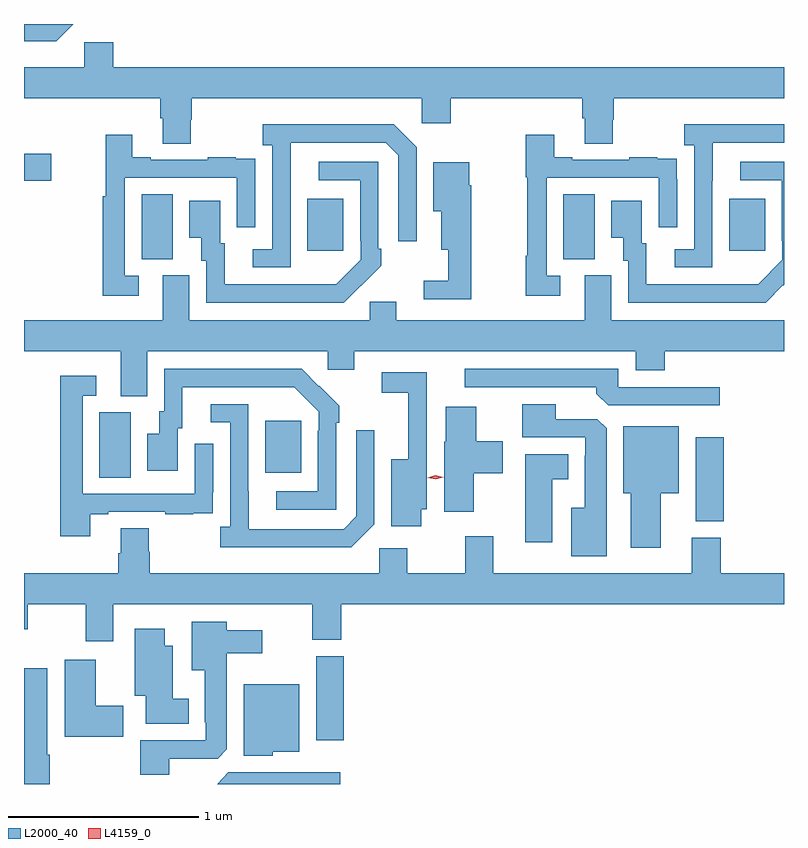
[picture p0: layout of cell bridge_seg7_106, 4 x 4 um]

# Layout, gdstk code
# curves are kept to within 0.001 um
import gdstk
lib = gdstk.Library(unit=1e-6, precision=1e-09)
def R(c, l, rs):  # rectangles x0, y0, x1, y1
    for r in rs: c.add(gdstk.rectangle(r[:2], r[2:], *l))
def P(c, l, *ps):  # polygons
    for p in ps: c.add(gdstk.Polygon(p, *l))
L2000_40 = (2000, 40)
L4159_0 = (4159, 0)

bridge_seg7_106 = lib.new_cell('bridge_seg7_106')
R(bridge_seg7_106, L2000_40, [(1081.988,1009.224,1082.135,1009.668), (1083.986,1010.377,1084.133,1010.821), (1080.848,1010.608,1081.012,1010.952), (1081.721,1010.633,1081.909,1010.908), (1081.07,1011.757,1081.234,1012.1), (1083.29,1011.757,1083.454,1012.1), (1081.943,1011.801,1082.131,1012.075), (1084.163,1011.801,1084.351,1012.075), (1080.451,1012.169,1080.595,1012.311)])
P(bridge_seg7_106, L2000_40, [(1080.711,1012.995),(1080.451,1012.995),(1080.451,1012.904),(1080.62,1012.904)],
  [(1081.329,1012.491),(1081.334,1012.491),(1081.334,1012.604),(1082.544,1012.604),(1082.544,1012.473),(1082.696,1012.473),(1082.696,1012.604),(1083.389,1012.604),(1083.389,1012.498),(1083.401,1012.498),(1083.401,1012.366),(1083.549,1012.366),(1083.549,1012.491),(1083.554,1012.491),(1083.554,1012.604),(1084.451,1012.604),(1084.451,1012.768),(1080.92,1012.768),(1080.92,1012.9),(1080.768,1012.9),(1080.768,1012.768),(1080.451,1012.768),(1080.451,1012.604),(1081.169,1012.604),(1081.169,1012.498),(1081.181,1012.498),(1081.181,1012.366),(1081.329,1012.366)],
  [(1084.074,1012.171),(1084.075,1012.171),(1084.075,1012.371),(1084.451,1012.371),(1084.451,1012.468),(1083.927,1012.468),(1083.927,1012.358),(1083.978,1012.358),(1083.978,1011.81),(1083.876,1011.81),(1083.876,1011.714),(1084.074,1011.714)],
  [(1081.854,1012.171),(1081.855,1012.371),(1082.355,1012.371),(1082.421,1012.305),(1082.421,1011.852),(1082.517,1011.852),(1082.517,1012.347),(1082.396,1012.468),(1081.707,1012.468),(1081.707,1012.358),(1081.758,1012.358),(1081.758,1011.81),(1081.656,1011.81),(1081.656,1011.714),(1081.854,1011.714)],
  [(1083.274,1011.669),(1083.201,1011.669),(1083.201,1012.185),(1083.792,1012.185),(1083.792,1011.924),(1083.888,1011.924),(1083.888,1012.178),(1083.887,1012.178),(1083.887,1012.287),(1083.785,1012.287),(1083.785,1012.294),(1083.637,1012.294),(1083.637,1012.281),(1083.337,1012.281),(1083.337,1012.294),(1083.241,1012.294),(1083.241,1012.411),(1083.092,1012.411),(1083.092,1012.188),(1083.1,1012.188),(1083.1,1011.776),(1083.093,1011.776),(1083.093,1011.564),(1083.274,1011.564)],
  [(1081.054,1011.669),(1080.981,1011.669),(1080.981,1012.185),(1081.572,1012.185),(1081.572,1011.924),(1081.668,1011.924),(1081.668,1012.178),(1081.667,1012.178),(1081.667,1012.287),(1081.565,1012.287),(1081.565,1012.294),(1081.417,1012.294),(1081.417,1012.281),(1081.117,1012.281),(1081.117,1012.294),(1081.021,1012.294),(1081.021,1012.411),(1080.88,1012.411),(1080.88,1012.088),(1080.865,1012.088),(1080.865,1011.564),(1081.054,1011.564)],
  [(1082.225,1011.619),(1082.226,1011.618),(1082.331,1011.723),(1082.331,1011.811),(1082.316,1011.811),(1082.316,1012.269),(1082.001,1012.269),(1082.001,1012.173),(1082.22,1012.173),(1082.22,1011.853),(1082.223,1011.853),(1082.223,1011.753),(1082.095,1011.625),(1081.507,1011.624),(1081.507,1011.84),(1081.483,1011.84),(1081.483,1012.066),(1081.322,1012.066),(1081.322,1011.869),(1081.385,1011.869),(1081.385,1011.75),(1081.41,1011.75),(1081.41,1011.528),(1082.134,1011.528)],
  [(1084.445,1011.619),(1084.446,1011.618),(1084.451,1011.623),(1084.451,1012.269),(1084.221,1012.269),(1084.221,1012.173),(1084.44,1012.173),(1084.44,1011.853),(1084.443,1011.853),(1084.443,1011.753),(1084.315,1011.625),(1083.727,1011.624),(1083.727,1011.84),(1083.703,1011.84),(1083.703,1012.066),(1083.542,1012.066),(1083.542,1011.869),(1083.605,1011.869),(1083.605,1011.75),(1083.63,1011.75),(1083.63,1011.528),(1084.354,1011.528)],
  [(1082.806,1012.146),(1082.794,1012.146),(1082.794,1012.267),(1082.606,1012.267),(1082.606,1012.01),(1082.648,1012.01),(1082.648,1011.806),(1082.685,1011.806),(1082.685,1011.643),(1082.556,1011.643),(1082.556,1011.546),(1082.806,1011.546)],
  [(1081.099,1011.272),(1082.049,1011.272),(1082.049,1011.174),(1082.188,1011.174),(1082.188,1011.272),(1083.671,1011.272),(1083.671,1011.173),(1083.824,1011.173),(1083.824,1011.272),(1084.451,1011.272),(1084.451,1011.436),(1083.541,1011.436),(1083.541,1011.672),(1083.401,1011.672),(1083.401,1011.436),(1082.41,1011.436),(1082.41,1011.534),(1082.271,1011.534),(1082.271,1011.436),(1081.321,1011.436),(1081.321,1011.672),(1081.181,1011.672),(1081.181,1011.436),(1080.451,1011.436),(1080.451,1011.272),(1080.959,1011.272),(1080.959,1011.037),(1081.099,1011.037)],
  [(1084.114,1011.084),(1083.579,1011.084),(1083.579,1011.18),(1082.772,1011.18),(1082.772,1011.084),(1083.464,1011.084),(1083.464,1011.05),(1083.525,1010.988),(1084.114,1010.988)],
  [(1082.094,1010.897),(1082.109,1010.897),(1082.109,1010.985),(1081.912,1011.18),(1081.188,1011.18),(1081.188,1010.958),(1081.163,1010.958),(1081.163,1010.839),(1081.1,1010.839),(1081.1,1010.643),(1081.261,1010.643),(1081.261,1010.868),(1081.285,1010.868),(1081.285,1011.084),(1081.873,1011.084),(1082.001,1010.955),(1082.001,1010.855),(1081.998,1010.855),(1081.998,1010.535),(1081.779,1010.535),(1081.779,1010.439),(1082.094,1010.439)],
  [(1082.542,1010.441),(1082.571,1010.441),(1082.571,1011.162),(1082.334,1011.162),(1082.334,1011.054),(1082.474,1011.054),(1082.474,1010.704),(1082.384,1010.704),(1082.384,1010.352),(1082.542,1010.352)],
  [(1080.799,1010.415),(1080.895,1010.415),(1080.895,1010.427),(1081.195,1010.427),(1081.195,1010.415),(1081.343,1010.415),(1081.343,1010.421),(1081.445,1010.421),(1081.445,1010.53),(1081.446,1010.53),(1081.446,1010.785),(1081.35,1010.785),(1081.35,1010.523),(1080.759,1010.523),(1080.759,1011.039),(1080.832,1011.039),(1080.832,1011.145),(1080.643,1011.145),(1080.643,1010.298),(1080.799,1010.298)],
  [(1083.517,1010.867),(1083.468,1010.916),(1083.25,1010.916),(1083.25,1010.995),(1083.074,1010.995),(1083.074,1010.82),(1083.405,1010.82),(1083.405,1010.723),(1083.401,1010.723),(1083.401,1010.449),(1083.332,1010.449),(1083.332,1010.195),(1083.517,1010.195)],
  [(1082.295,1010.361),(1082.295,1010.857),(1082.199,1010.857),(1082.199,1010.403),(1082.133,1010.337),(1081.633,1010.337),(1081.632,1010.994),(1081.434,1010.994),(1081.434,1010.898),(1081.536,1010.898),(1081.536,1010.35),(1081.485,1010.35),(1081.485,1010.24),(1082.174,1010.24)],
  [(1082.818,1010.631),(1082.971,1010.631),(1082.971,1010.8),(1082.83,1010.8),(1082.83,1010.98),(1082.672,1010.98),(1082.672,1010.796),(1082.663,1010.796),(1082.663,1010.427),(1082.818,1010.427)],
  [(1083.802,1010.525),(1083.898,1010.525),(1083.898,1010.878),(1083.605,1010.878),(1083.605,1010.525),(1083.644,1010.525),(1083.644,1010.238),(1083.802,1010.238)],
  [(1083.232,1010.6),(1083.316,1010.6),(1083.316,1010.731),(1083.089,1010.731),(1083.089,1010.268),(1083.232,1010.268)],
  [(1080.922,1009.94),(1081.967,1009.94),(1081.967,1009.753),(1082.12,1009.753),(1082.12,1009.94),(1084.451,1009.94),(1084.451,1010.104),(1084.118,1010.104),(1084.118,1010.292),(1083.965,1010.292),(1083.965,1010.104),(1082.92,1010.104),(1082.92,1010.299),(1082.773,1010.299),(1082.773,1010.104),(1082.469,1010.104),(1082.469,1010.236),(1082.322,1010.236),(1082.322,1010.104),(1081.112,1010.104),(1081.112,1010.217),(1081.107,1010.217),(1081.107,1010.342),(1080.959,1010.342),(1080.959,1010.21),(1080.947,1010.21),(1080.947,1010.104),(1080.451,1010.104),(1080.451,1009.809),(1080.471,1009.809),(1080.471,1009.94),(1080.775,1009.94),(1080.775,1009.746),(1080.922,1009.746)],
  [(1081.216,1009.128),(1081.47,1009.128),(1081.519,1009.177),(1081.519,1009.682),(1081.705,1009.682),(1081.705,1009.804),(1081.519,1009.804),(1081.519,1009.849),(1081.334,1009.849),(1081.334,1009.595),(1081.403,1009.595),(1081.403,1009.321),(1081.407,1009.321),(1081.407,1009.224),(1081.064,1009.224),(1081.064,1009.045),(1081.216,1009.045)],
  [(1081.318,1009.444),(1081.234,1009.444),(1081.234,1009.723),(1081.192,1009.723),(1081.192,1009.813),(1081.034,1009.813),(1081.034,1009.46),(1081.091,1009.46),(1081.091,1009.313),(1081.318,1009.313)],
  [(1080.973,1009.407),(1080.829,1009.407),(1080.829,1009.648),(1080.665,1009.648),(1080.665,1009.244),(1080.973,1009.244)],
  [(1080.587,1009.148),(1080.574,1009.148),(1080.574,1009.603),(1080.451,1009.603),(1080.451,1008.995),(1080.587,1008.995)],
  [(1081.761,1009.166),(1081.9,1009.166),(1081.9,1009.519),(1081.607,1009.519),(1081.607,1009.145),(1081.761,1009.145)],
  [(1082.116,1009.056),(1081.527,1009.056),(1081.467,1008.995),(1082.116,1008.995)])
P(bridge_seg7_106, L4159_0, [(1082.617,1010.599),(1082.575,1010.608),(1082.575,1010.608),(1082.575,1010.608),(1082.616,1010.619),(1082.658,1010.61),(1082.658,1010.609),(1082.658,1010.609)])

lib.write_gds('bridge_seg7_106.gds')
